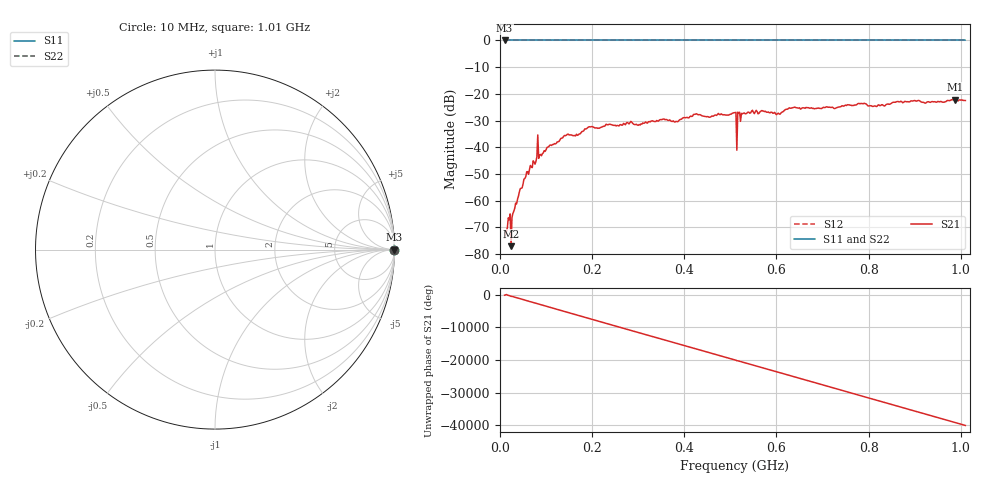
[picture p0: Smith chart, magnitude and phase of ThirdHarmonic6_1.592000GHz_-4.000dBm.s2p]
! 8/16/2025 6:57:47 PM
! C:\ANRITSUVNA\TEMP\TEMP.S2P
! CHANNEL.1
! TR.MEASUREMENT
! RAW.DATA
! RF.CORRECTION.OFF
! AVERAGING.OFF
! IF.BANDWIDTH: 5KHZ
! SWEEPTYPE:  FREQ.SWEEP(Linear)
! Reference Plane Port Info
! PORT:  PORT1  PORT2
! DISTANCE:  0  m  0  m
! TIME:  0  s  0  s
! PHASE.OFFSET:  0  deg.  0  deg.
! LOSS:  0  dB  0  dB
! REF.LOSS:  0  dB  0  dB
! REF.FREQ:  0  Hz  0  Hz
! Power Info
! POWER:  -20  dBm  -20  dBm
! EFF.POWER:  -20  dBm  -20  dBm
! SOURCE.ATTEN:  0  dB  0  dB
! TEST.ATTEN:  0  dB  0  dB
# GHZ S RI R 50.0
! FREQ.GHZ  S11RE  S11IM  S21RE  S21IM  S12RE  S12IM  S22RE  S22IM
!; PortSelection: Port_12
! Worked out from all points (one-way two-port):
!   501 points, 10 MHz to 1.01 GHz, reference 50 ohm
!   highest |S21| = -22.10 dB at 988 MHz (marker M1); lowest = -77.0 dB at 24 MHz (marker M2)
!   lowest |S11| = 0.0 dB at 10 MHz (marker M3)
!   |S11| at or under -10 dB: nowhere
!   |S22| runs from 0.0 to 0.0 dB; largest |S21 - S12| = 1.1
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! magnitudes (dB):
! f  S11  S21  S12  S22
! 10 MHz  0.0  -73.8  0.0  0.0
! 18 MHz  0.0  -66.4  0.0  0.0
! 24 MHz  0.0  -77.0  0.0  0.0
! 42 MHz  0.0  -56.7  0.0  0.0
! 56 MHz  0.0  -50.9  0.0  0.0
! 84 MHz  0.0  -44.1  0.0  0.0
! 88 MHz  0.0  -42.7  0.0  0.0
! 142 MHz  0.0  -35.6  0.0  0.0
! 178 MHz  0.0  -34.1  0.0  0.0
! 196 MHz  0.0  -32.4  0.0  0.0
! 344 MHz  0.0  -30.2  0.0  0.0
! 508 MHz  0.0  -27.1  0.0  0.0
! 510 MHz  0.0  -26.9  0.0  0.0
! 518 MHz  0.0  -27.1  0.0  0.0
! 520 MHz  0.0  -26.9  0.0  0.0
! 544 MHz  0.0  -27.1  0.0  0.0
! 604 MHz  0.0  -27.2  0.0  0.0
! 636 MHz  0.0  -25.1  0.0  0.0
! 678 MHz  0.0  -25.4  0.0  0.0
! 844 MHz  0.0  -23.9  0.0  0.0
! 988 MHz  0.0  -22.1  0.0  0.0
! 1.01 GHz  0.0  -22.5  0.0  0.0
